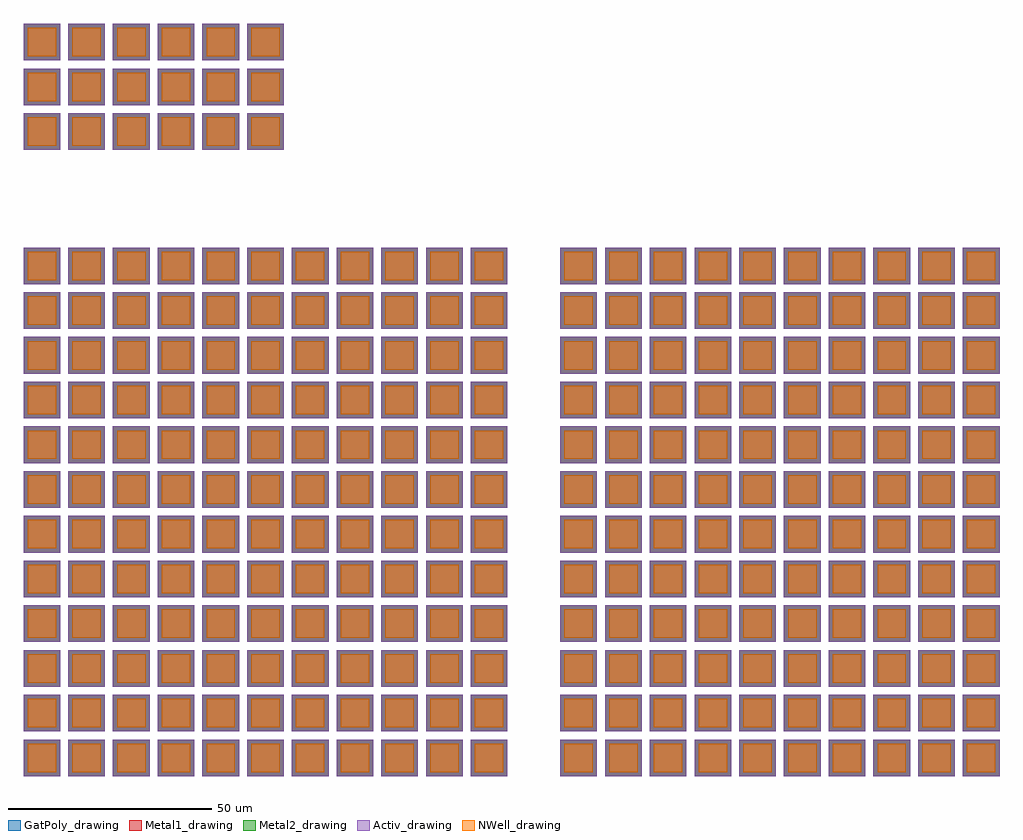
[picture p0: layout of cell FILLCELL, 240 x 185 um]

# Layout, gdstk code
import gdstk
lib = gdstk.Library(unit=1e-6, precision=1e-09)
def R(c, l, rs):  # rectangles x0, y0, x1, y1
    for r in rs: c.add(gdstk.rectangle(r[:2], r[2:], *l))
def A(c, l, x, y, w, h, nx, ny, dx, dy):  # array of equal rectangles
    R(c, l, [(x+i*dx, y+j*dy, x+i*dx+w, y+j*dy+h) for i in range(nx) for j in range(ny)])
Activ_drawing = (1, 0)
GatPoly_drawing = (5, 0)
Metal1_drawing = (8, 0)
Metal2_drawing = (10, 0)
NWell_drawing = (31, 0)

fillcell = lib.new_cell('FILLCELL')
A(fillcell, Activ_drawing, 423.5, 687.5, 9, 9, 11, 12, 11, 11)
A(fillcell, Activ_drawing, 555.5, 687.5, 9, 9, 10, 12, 11, 11)
A(fillcell, Activ_drawing, 423.5, 841.5, 9, 9, 6, 3, 11, 11)
A(fillcell, GatPoly_drawing, 423.5, 687.5, 9, 9, 11, 12, 11, 11)
A(fillcell, GatPoly_drawing, 555.5, 687.5, 9, 9, 10, 12, 11, 11)
A(fillcell, GatPoly_drawing, 423.5, 841.5, 9, 9, 6, 3, 11, 11)
A(fillcell, Metal1_drawing, 423.5, 687.5, 9, 9, 11, 12, 11, 11)
A(fillcell, Metal1_drawing, 555.5, 687.5, 9, 9, 10, 12, 11, 11)
A(fillcell, Metal1_drawing, 423.5, 841.5, 9, 9, 6, 3, 11, 11)
A(fillcell, Metal2_drawing, 423.5, 687.5, 9, 9, 11, 12, 11, 11)
A(fillcell, Metal2_drawing, 555.5, 687.5, 9, 9, 10, 12, 11, 11)
A(fillcell, Metal2_drawing, 423.5, 841.5, 9, 9, 6, 3, 11, 11)
A(fillcell, NWell_drawing, 424.5, 688.5, 7, 7, 11, 12, 11, 11)
A(fillcell, NWell_drawing, 556.5, 688.5, 7, 7, 10, 12, 11, 11)
A(fillcell, NWell_drawing, 424.5, 842.5, 7, 7, 6, 3, 11, 11)

lib.write_gds('FILLCELL.gds')
